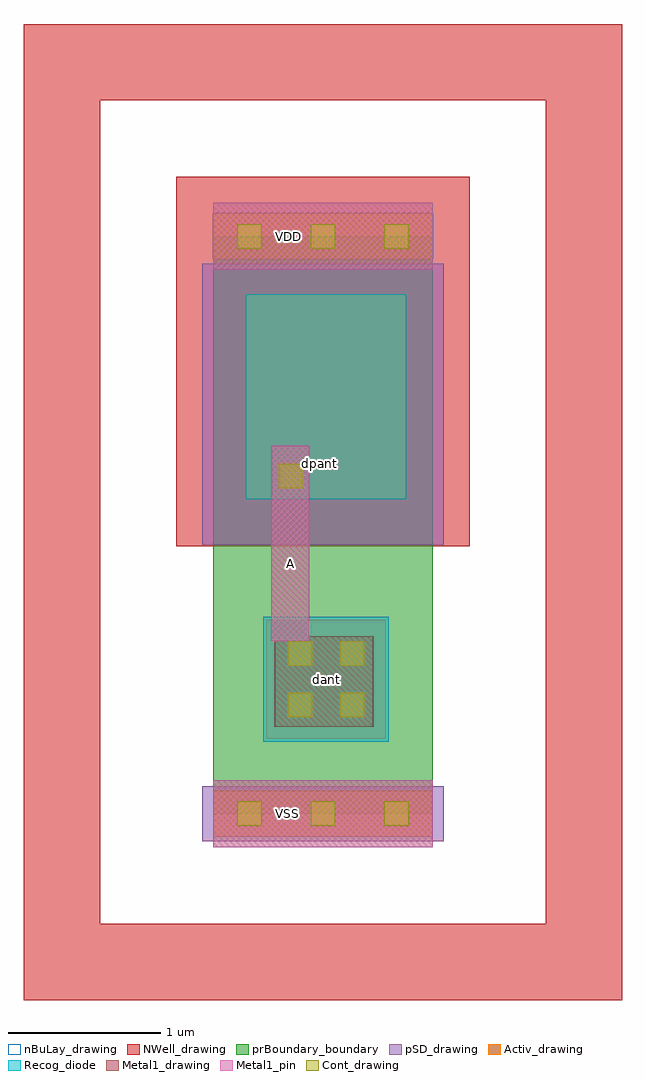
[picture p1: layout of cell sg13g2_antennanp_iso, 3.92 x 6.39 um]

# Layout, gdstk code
import gdstk
lib = gdstk.Library(unit=1e-6, precision=1e-09)
def R(c, l, rs):  # rectangles x0, y0, x1, y1
    for r in rs: c.add(gdstk.rectangle(r[:2], r[2:], *l))
def A(c, l, x, y, w, h, nx, ny, dx, dy):  # array of equal rectangles
    R(c, l, [(x+i*dx, y+j*dy, x+i*dx+w, y+j*dy+h) for i in range(nx) for j in range(ny)])
def P(c, l, *ps):  # polygons
    for p in ps: c.add(gdstk.Polygon(p, *l))
Activ_drawing = (1, 0)
Cont_drawing = (6, 0)
Metal1_drawing = (8, 0)
Metal1_pin = (8, 2)
pSD_drawing = (14, 0)
NWell_drawing = (31, 0)
nBuLay_drawing = (32, 0)
Recog_diode = (99, 31)
prBoundary_boundary = (189, 4)

sg13g2_antennanp_iso = lib.new_cell('sg13g2_antennanp_iso')
R(sg13g2_antennanp_iso, Activ_drawing, [(0,-0.15,1.44,0.15), (0.35,0.49,1.13,1.27), (0.215,2.06,1.265,3.4), (0,3.63,1.44,3.93)])
A(sg13g2_antennanp_iso, Cont_drawing, 0.16, -0.08, 0.16, 0.16, 3, 2, 0.48, 3.78)
R(sg13g2_antennanp_iso, Cont_drawing, [(0.16,-0.08,0.32,0.08), (0.49,0.63,0.65,0.79), (0.83,0.63,0.99,0.79), (0.49,0.97,0.65,1.13), (0.83,0.97,0.99,1.13), (0.43,2.13,0.59,2.29), (0.16,3.7,0.32,3.86)])
R(sg13g2_antennanp_iso, Metal1_drawing, [(0,-0.22,1.44,0.22), (0,3.56,1.44,4)])
P(sg13g2_antennanp_iso, Metal1_drawing, [(1.05,1.16),(0.63,1.16),(0.63,2.41),(0.38,2.41),(0.38,1.13),(0.405,1.13),(0.405,0.57),(1.05,0.57)])
R(sg13g2_antennanp_iso, Metal1_pin, [(0,-0.22,1.44,0.22), (0.38,1.13,0.63,2.41), (0,3.56,1.44,4)])
R(sg13g2_antennanp_iso, pSD_drawing, [(-0.07,-0.18,1.51,0.18), (-0.07,1.76,1.51,3.6)])
R(sg13g2_antennanp_iso, NWell_drawing, [(-1.24,-1.22,2.68,-0.72), (-1.24,-0.72,-0.74,4.67), (2.18,-0.72,2.68,4.67), (-0.24,1.75,1.68,4.17), (-1.24,4.67,2.68,5.17)])
P(sg13g2_antennanp_iso, nBuLay_drawing, [(2.68,5.17),(-1.24,5.17),(-1.24,3.63),(0,3.63),(0,3.93),(1.44,3.93),(1.44,3.63),(0,3.63),(-1.24,3.63),(-1.24,-1.22),(2.68,-1.22)])
R(sg13g2_antennanp_iso, Recog_diode, [(0.33,0.47,1.15,1.29), (0.215,2.06,1.265,3.4)])
R(sg13g2_antennanp_iso, prBoundary_boundary, [(0,0,1.44,3.78)])
sg13g2_antennanp_iso.add(gdstk.Label('A', (0.505,1.64), layer=8, texttype=25))
sg13g2_antennanp_iso.add(gdstk.Label('VSS', (0.49,0), layer=8, texttype=25))
sg13g2_antennanp_iso.add(gdstk.Label('VDD', (0.495,3.78), layer=8, texttype=25))
sg13g2_antennanp_iso.add(gdstk.Label('dpant', (0.695,2.29), layer=63, texttype=0))
sg13g2_antennanp_iso.add(gdstk.Label('dant', (0.74,0.88), layer=63, texttype=0))

lib.write_gds('sg13g2_antennanp_iso.gds')
